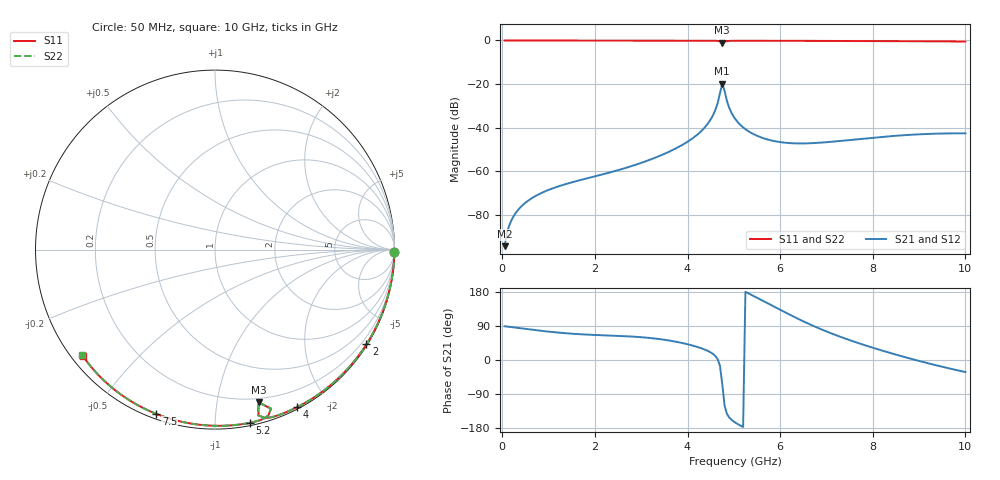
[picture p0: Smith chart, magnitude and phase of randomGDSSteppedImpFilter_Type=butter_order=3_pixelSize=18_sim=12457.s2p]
! freq	dB(S11)	phase(S11)	dB(S12)	phase(S12)
!  dB(S21)	phase(S21)	dB(S22)	phase(S22)
!S-par simulation data
#  GHz  S  DB  R 50
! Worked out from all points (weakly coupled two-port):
!   200 points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, 50 MHz to 10 GHz, reference 50 ohm
!   highest |S21| = -19.82 dB at 4.75 GHz (marker M1); lowest = -94.4 dB at 50 MHz (marker M2)
!   lowest |S11| = -1.1 dB at 4.75 GHz (marker M3), VSWR 16.47, Z = 8.31 - j65.6 ohm
!   |S11| at or under -10 dB: nowhere
!   |S22| runs from -1.1 to 0.0 dB; largest |S21 - S12| = 0
!   S11 on the Smith chart (normalised r, x): 50 MHz: open; 2 GHz: 0.03, -3.48; 4 GHz: 0.02, -1.65; 5.2 GHz: 0.02, -1.22; 7.5 GHz: 0.02, -0.70; 10 GHz: 0.03, -0.35
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0.05  -0.00 -0.8  -94.40 89.1  -94.40 89.1  -0.00 -0.8
0.25  -0.01 -4.1  -80.43 85.9  -80.43 85.9  -0.01 -4.1
0.55  -0.01 -8.9  -73.64 81.1  -73.64 81.1  -0.01 -8.9
0.9  -0.02 -14.6  -69.46 76.1  -69.46 76.1  -0.02 -14.6
1.75  -0.04 -28.1  -63.71 67.5  -63.71 67.5  -0.04 -28.1
2  -0.04 -32.0  -62.36 66.0  -62.36 66.0  -0.04 -32.1
3.4  -0.07 -53.5  -52.95 55.1  -52.95 55.1  -0.07 -53.6
4  -0.09 -62.5  -46.49 41.6  -46.49 41.6  -0.09 -62.5
4.3  -0.10 -67.1  -41.53 30.8  -41.53 30.8  -0.10 -67.1
4.5  -0.12 -70.3  -36.23 20.0  -36.23 20.0  -0.12 -70.4
4.65  -0.21 -73.6  -28.78 2.3  -28.78 2.3  -0.21 -73.7
4.75  -1.06 -74.1  -19.82 -63.4  -19.82 -63.4  -1.07 -74.1
4.8  -0.54 -70.6  -23.14 -120.7  -23.14 -120.7  -0.55 -70.6
4.9  -0.19 -73.5  -30.90 -151.7  -30.90 -151.7  -0.19 -73.5
5.05  -0.14 -76.3  -36.60 -166.6  -36.60 -166.6  -0.14 -76.4
5.2  -0.14 -78.7  -39.87 -176.8  -39.87 -176.8  -0.14 -78.7
5.45  -0.14 -82.3  -43.24 167.5  -43.24 167.5  -0.14 -82.4
5.8  -0.15 -87.2  -45.84 145.4  -45.84 145.4  -0.15 -87.3
6.7  -0.20 -99.3  -47.12 90.8  -47.12 90.8  -0.20 -99.3
7.5  -0.25 -109.7  -45.68 52.4  -45.68 52.4  -0.25 -109.7
8.35  -0.31 -120.5  -43.98 19.5  -43.98 19.5  -0.31 -120.6
10  -0.49 -141.3  -42.61 -31.7  -42.61 -31.7  -0.49 -141.4
